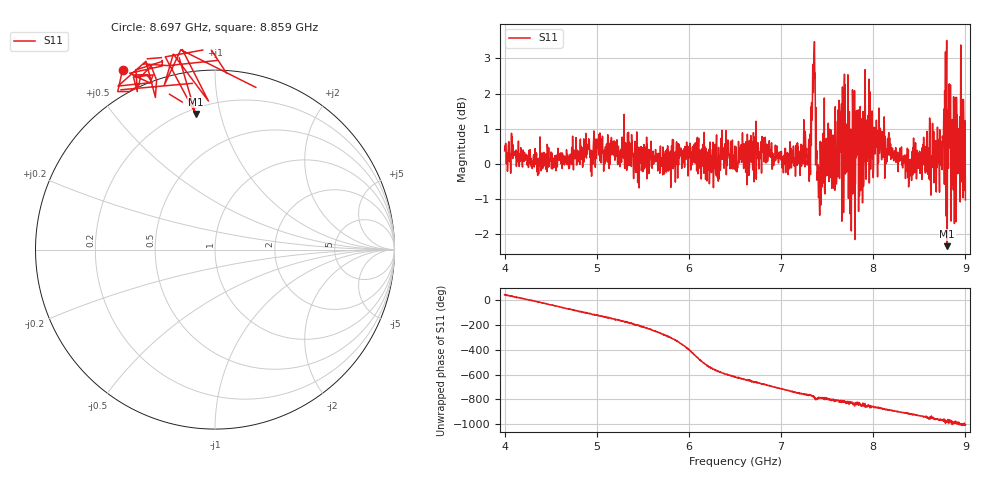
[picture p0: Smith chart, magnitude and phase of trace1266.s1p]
! Created with skrf 1.8.0 (http://scikit-rf.org).
# Hz S RI R 50.0
!freq ReS11 ImS11
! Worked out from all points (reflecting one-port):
!   1601 points, 4 GHz to 9 GHz, reference 50 ohm
!   lowest |S11| = -2.4 dB at 8.803 GHz (marker M1), VSWR 7.43, Z = 11.6 + j42 ohm
!   phase of S11 starts at 48 deg and turns -1055 deg over the sweep
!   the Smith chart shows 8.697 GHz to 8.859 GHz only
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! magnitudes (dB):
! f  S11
! 4 GHz  0.4
! 4.625 GHz  -0.1
! 4.897 GHz  0.3
! 5.25 GHz  -0.1
! 5.875 GHz  0.4
! 6.5 GHz  0.5
! 7.125 GHz  0.2
! 7.294 GHz  0.0
! 7.316 GHz  0.2
! 7.347 GHz  2.8
! 7.366 GHz  2.4
! 7.397 GHz  -0.4
! 7.409 GHz  -0.9
! 7.516 GHz  0.3
! 7.591 GHz  0.3
! 7.631 GHz  0.8
! 7.669 GHz  1.0
! 7.75 GHz  -1.4
! 7.775 GHz  2.1
! 7.834 GHz  1.4
! 7.909 GHz  0.1
! 7.928 GHz  1.2
! 8.375 GHz  -0.2
! 8.694 GHz  0.3
! 8.803 GHz  -2.4
! 8.869 GHz  -0.7
! 8.972 GHz  0.7
! 9 GHz  -1.0
